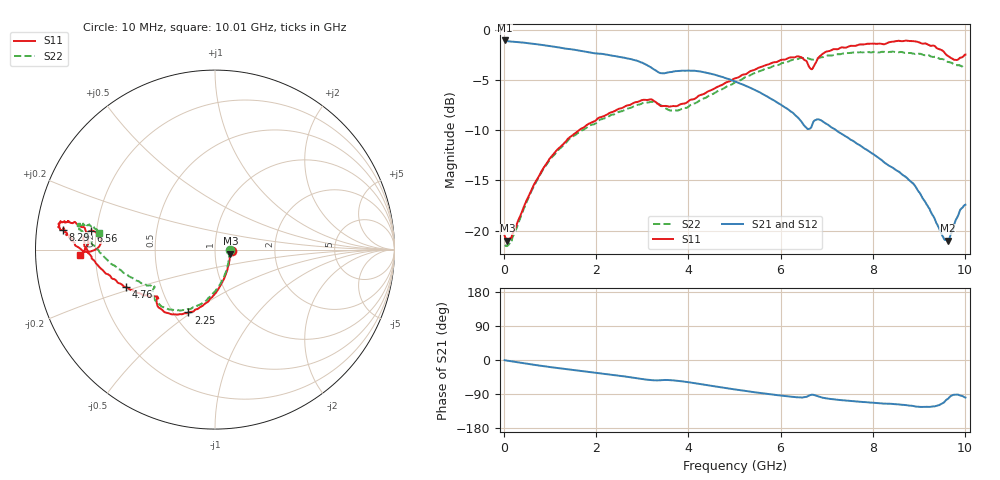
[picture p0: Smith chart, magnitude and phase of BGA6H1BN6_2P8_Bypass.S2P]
!Agilent Technologies,E5071C,MY46317100,A.11.08
!Date: Wed Jun 03 12:53:41 2015
!Data & Calibration Information:
!Freq	S11:SOLT2(ON)	S21:SOLT2(ON)	S12:SOLT2(ON)	S22:SOLT2(ON)
!PortZ  Port1:50+j0  Port2:50+j0
!Above PortZ is port z conversion or system Z0 setting when saving the data.
!When reading, reference impedance value at option line is always used.
# Hz S RI R 50
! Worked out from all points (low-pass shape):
!   1001 points, 10 MHz to 10.01 GHz, reference 50 ohm
!   highest |S21| = -1.07 dB at 10 MHz (marker M1); lowest = -21.0 dB at 9.63 GHz (marker M2)
!   |S21| within 3 dB of the highest: start of sweep to 3.294 GHz
!   lowest |S11| = -21.0 dB at 70 MHz (marker M3), VSWR 1.20, Z = 59.3 - j2.73 ohm
!   |S11| at or under -10 dB: start of sweep to 1.626 GHz
!   |S22| runs from -21.6 to -2.2 dB; largest |S21 - S12| = 0.0072
!   S11 on the Smith chart (normalised r, x): 10 MHz: 1.21, -0.02; 2.25 GHz: 0.59, -0.49; 4.76 GHz: 0.31, -0.18; 6.56 GHz: 0.18, +0.07; 8.29 GHz: 0.08, +0.06; 10.01 GHz: 0.14, -0.02
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1e7  0.0941 -0.0066  0.8843 -0.00668  0.8792 -0.00436  0.0837 -0.00391
7e7  0.0859 -0.0228  0.8766 -0.0274  0.8751 -0.0253  0.0815 -0.0201
8.5e8  0.0291 -0.202  0.805 -0.2336  0.8053 -0.2321  0.0239 -0.2007
1.68e9  -0.0713 -0.3142  0.6842 -0.3825  0.6852 -0.38  -0.0805 -0.3047
2.25e9  -0.1482 -0.3502  0.5942 -0.4577  0.596 -0.4553  -0.1566 -0.3327
2.9e9  -0.2532 -0.3567  0.4631 -0.5234  0.4653 -0.5203  -0.2623 -0.3313
3.35e9  -0.3245 -0.2745  0.3633 -0.4945  0.3667 -0.4903  -0.3461 -0.2505
3.78e9  -0.3293 -0.2599  0.3551 -0.5114  0.3587 -0.5077  -0.3397 -0.2045
4.76e9  -0.4938 -0.2101  0.1683 -0.5542  0.1726 -0.5523  -0.4901 -0.1395
5.01e9  -0.542 -0.1839  0.1187 -0.5401  0.1244 -0.538  -0.536 -0.1097
6.2e9  -0.7264 0.0177  -0.0446 -0.3921  -0.0402 -0.3929  -0.6977 0.0475
6.41e9  -0.73 0.0704  -0.0543 -0.3533  -0.0505 -0.3543  -0.7166 0.0752
6.56e9  -0.6896 0.1064  -0.0407 -0.3222  -0.0337 -0.3222  -0.7146 0.0977
6.68e9  -0.6348 0.0402  -0.00834 -0.333  -0.00429 -0.3332  -0.7039 0.0974
6.81e9  -0.7208 -0.0128  -0.0372 -0.3561  -0.0312 -0.3555  -0.7144 0.0885
7.13e9  -0.7959 0.0463  -0.0753 -0.315  -0.0709 -0.3153  -0.739 0.1024
8.29e9  -0.8462 0.1089  -0.0915 -0.1946  -0.0877 -0.1956  -0.7629 0.1303
8.35e9  -0.859 0.1094  -0.0903 -0.19  -0.0869 -0.1911  -0.7617 0.1366
8.9e9  -0.8623 0.1561  -0.0902 -0.1432  -0.0868 -0.1442  -0.7461 0.1371
9.63e9  -0.7302 0.1251  -0.0194 -0.0867  -0.0158 -0.0891  -0.6793 0.1295
9.81e9  -0.7058 0.039  -0.00293 -0.114  -0.000435 -0.1145  -0.6569 0.1112
1.001e10  -0.7514 -0.0315  -0.0211 -0.1328  -0.0175 -0.1331  -0.6479 0.0914
